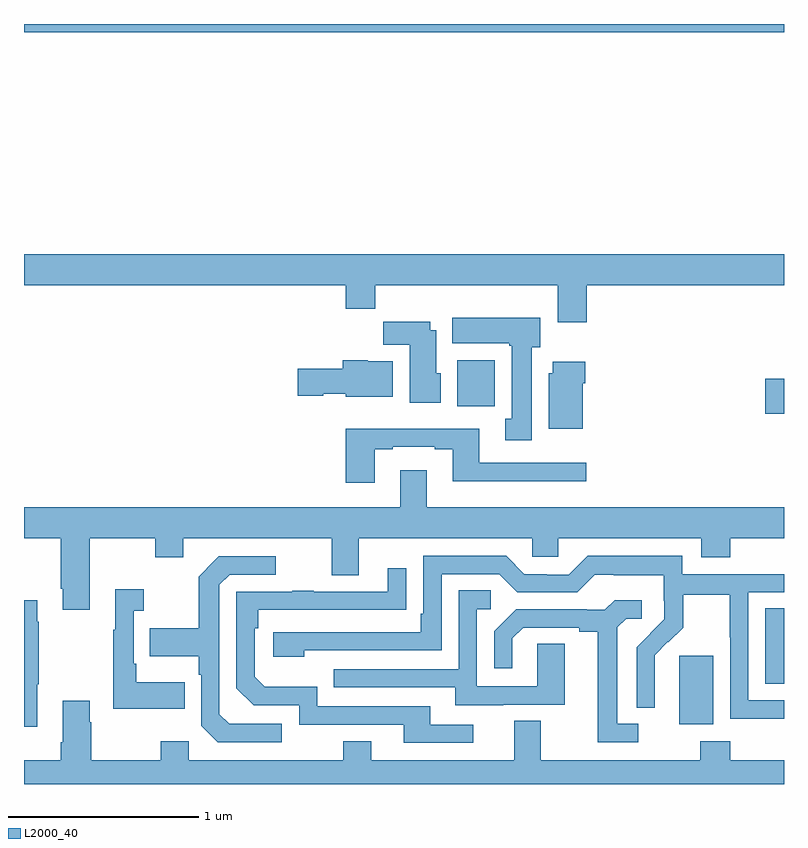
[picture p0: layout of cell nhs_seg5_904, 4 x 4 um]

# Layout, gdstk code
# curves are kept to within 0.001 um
import gdstk
lib = gdstk.Library(unit=1e-6, precision=1e-09)
def R(c, l, rs):  # rectangles x0, y0, x1, y1
    for r in rs: c.add(gdstk.rectangle(r[:2], r[2:], *l))
def P(c, l, *ps):  # polygons
    for p in ps: c.add(gdstk.Polygon(p, *l))
L2000_40 = (2000, 40)

nhs_seg5_904 = lib.new_cell('nhs_seg5_904')
R(nhs_seg5_904, L2000_40, [(172.448,857.114,172.627,857.475), (172.901,857.326,173,857.723), (172.902,858.749,173,858.932), (171.281,858.788,171.478,859.03), (169,860.756,173,860.799)])
P(nhs_seg5_904, L2000_40, [(171.962,859.424),(173,859.424),(173,859.588),(169,859.588),(169,859.424),(170.693,859.424),(170.693,859.3),(170.849,859.3),(170.849,859.424),(171.809,859.424),(171.809,859.23),(171.962,859.23)],
  [(171.673,859.098),(171.718,859.098),(171.718,859.252),(171.254,859.252),(171.254,859.118),(171.553,859.118),(171.553,859.105),(171.566,859.105),(171.566,858.722),(171.533,858.722),(171.533,858.609),(171.673,858.609)],
  [(171.193,858.96),(171.169,858.96),(171.169,859.186),(171.139,859.186),(171.139,859.231),(170.89,859.231),(170.89,859.112),(171.029,859.112),(171.029,858.806),(171.193,858.806)],
  [(170.941,859.024),(170.808,859.024),(170.808,859.03),(170.678,859.03),(170.678,858.984),(170.442,858.984),(170.442,858.842),(170.574,858.842),(170.574,858.854),(170.694,858.854),(170.694,858.836),(170.941,858.836)],
  [(171.94,858.908),(171.953,858.908),(171.953,859.021),(171.782,859.021),(171.782,858.96),(171.761,858.96),(171.761,858.668),(171.94,858.668)],
  [(170.845,858.561),(170.941,858.561),(170.941,858.573),(171.161,858.573),(171.161,858.561),(171.257,858.561),(171.257,858.392),(171.958,858.392),(171.958,858.489),(171.397,858.489),(171.397,858.67),(170.693,858.67),(170.693,858.384),(170.845,858.384)],
  [(169.345,858.092),(169.69,858.092),(169.69,857.993),(169.837,857.993),(169.837,858.092),(170.621,858.092),(170.621,857.898),(170.761,857.898),(170.761,858.092),(171.675,858.092),(171.675,857.994),(171.813,857.994),(171.813,858.092),(172.565,858.092),(172.565,857.993),(172.718,857.993),(172.718,858.092),(173,858.092),(173,858.256),(171.121,858.256),(171.121,858.451),(170.981,858.451),(170.981,858.256),(169,858.256),(169,858.092),(169.193,858.092),(169.193,857.827),(169.205,857.827),(169.205,857.715),(169.345,857.715)],
  [(173,857.241),(172.812,857.241),(172.812,857.808),(173,857.808),(173,857.904),(172.464,857.904),(172.464,858.001),(171.967,858.001),(171.867,857.901),(171.752,857.901),(171.752,857.904),(171.633,857.904),(171.537,858),(171.102,858),(171.102,857.695),(171.089,857.695),(171.089,857.598),(170.313,857.598),(170.313,857.468),(170.474,857.468),(170.474,857.502),(171.198,857.502),(171.198,857.904),(171.501,857.904),(171.597,857.808),(171.912,857.808),(172.005,857.901),(172.105,857.901),(172.105,857.897),(172.368,857.897),(172.368,857.763),(172.37,857.763),(172.37,857.666),(172.224,857.518),(172.224,857.2),(172.32,857.2),(172.319,857.477),(172.389,857.547),(172.392,857.544),(172.469,857.621),(172.469,857.796),(172.714,857.796),(172.714,857.572),(172.716,857.572),(172.716,857.143),(173,857.143)],
  [(170.356,857.115),(170.079,857.115),(170.028,857.166),(170.028,857.847),(170.082,857.901),(170.326,857.901),(170.326,857.997),(170.025,857.997),(169.92,857.891),(169.92,857.619),(169.663,857.619),(169.663,857.471),(169.92,857.471),(169.92,857.375),(169.932,857.375),(169.932,857.106),(170.019,857.019),(170.356,857.019)],
  [(171.364,857.112),(171.139,857.112),(171.139,857.208),(170.544,857.208),(170.544,857.311),(170.267,857.311),(170.214,857.364),(170.214,857.618),(170.234,857.618),(170.234,857.715),(171.011,857.716),(171.011,857.935),(170.915,857.935),(170.915,857.811),(170.525,857.811),(170.525,857.816),(170.413,857.816),(170.413,857.811),(170.118,857.811),(170.118,857.304),(170.208,857.214),(170.448,857.214),(170.448,857.112),(170.999,857.112),(170.999,857.016),(171.364,857.016)],
  [(169.847,857.335),(169.591,857.335),(169.591,857.431),(169.578,857.431),(169.578,857.711),(169.63,857.711),(169.63,857.824),(169.481,857.824),(169.481,857.611),(169.47,857.611),(169.47,857.195),(169.847,857.195)],
  [(171.523,857.217),(171.847,857.217),(171.847,857.537),(171.702,857.537),(171.702,857.313),(171.384,857.313),(171.384,857.718),(171.457,857.718),(171.457,857.819),(171.288,857.819),(171.288,857.403),(170.629,857.403),(170.629,857.307),(171.269,857.307),(171.269,857.213),(171.523,857.213)],
  [(172.234,857.115),(172.123,857.115),(172.123,857.623),(172.17,857.67),(172.252,857.67),(172.252,857.767),(172.108,857.767),(172.056,857.715),(171.962,857.715),(171.962,857.718),(171.59,857.718),(171.474,857.602),(171.474,857.409),(171.571,857.409),(171.571,857.565),(171.628,857.622),(171.923,857.622),(171.923,857.6),(172.019,857.6),(172.019,857.019),(172.234,857.019)],
  [(169.069,857.323),(169.077,857.323),(169.077,857.654),(169.069,857.654),(169.069,857.767),(169,857.767),(169,857.1),(169.069,857.1)],
  [(173,856.924),(172.718,856.924),(172.718,857.023),(172.558,857.023),(172.558,856.924),(171.721,856.924),(171.721,857.132),(171.581,857.132),(171.581,856.924),(170.827,856.924),(170.827,857.023),(170.68,857.023),(170.68,856.924),(169.866,856.924),(169.866,857.023),(169.72,857.023),(169.72,856.924),(169.353,856.924),(169.353,857.123),(169.345,857.123),(169.345,857.236),(169.205,857.236),(169.205,857.02),(169.193,857.02),(169.193,856.924),(169,856.924),(169,856.799),(173,856.799)])

lib.write_gds('nhs_seg5_904.gds')
